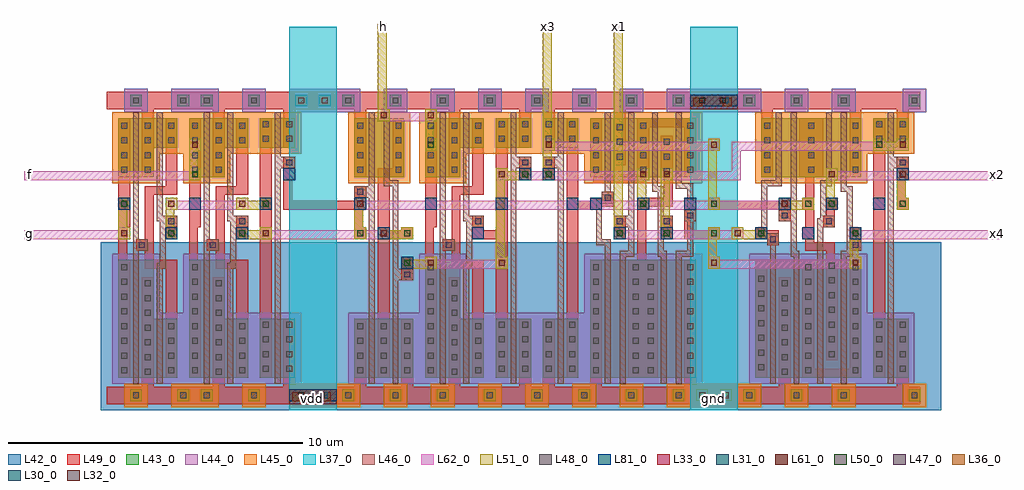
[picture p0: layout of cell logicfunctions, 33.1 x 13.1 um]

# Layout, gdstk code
from math import pi, radians
import gdstk
lib = gdstk.Library(unit=1e-6, precision=1e-09)
def R(c, l, rs):  # rectangles x0, y0, x1, y1
    for r in rs: c.add(gdstk.rectangle(r[:2], r[2:], *l))
def A(c, l, x, y, w, h, nx, ny, dx, dy):  # array of equal rectangles
    R(c, l, [(x+i*dx, y+j*dy, x+i*dx+w, y+j*dy+h) for i in range(nx) for j in range(ny)])
L30_0 = (30, 0)
L31_0 = (31, 0)
L32_0 = (32, 0)
L33_0 = (33, 0)
L36_0 = (36, 0)
L37_0 = (37, 0)
L42_0 = (42, 0)
L43_0 = (43, 0)
L44_0 = (44, 0)
L45_0 = (45, 0)
L46_0 = (46, 0)
L47_0 = (47, 0)
L48_0 = (48, 0)
L49_0 = (49, 0)
L50_0 = (50, 0)
L51_0 = (51, 0)
L61_0 = (61, 0)
L62_0 = (62, 0)
L81_0 = (81, 0)

invx1 = lib.new_cell('INVX1')
R(invx1, L42_0, [(-0.9,4.8,2.6,10.5)])
R(invx1, L43_0, [(-0.2,-0.2,0.2,0.2), (0.2,0.6,1.4,1.6), (0.2,7.4,1.4,9.4), (-0.2,9.8,0.2,10.2)])
R(invx1, L44_0, [(-0.4,-0.4,0.4,0.4), (0,7.2,1.6,9.6)])
R(invx1, L45_0, [(0,0.4,1.6,1.8), (-0.4,9.6,0.4,10.4)])
R(invx1, L46_0, [(0.7,0.4,0.9,1.9), (0.2,1.9,0.9,2.3), (0.7,2.3,0.9,9.6)])
R(invx1, L47_0, [(0.3,2,0.5,2.2)])
A(invx1, L48_0, 0.3, 7.5, 0.2, 0.2, 1, 4, 0, 0.5)
A(invx1, L48_0, 1.1, 7.5, 0.2, 0.2, 1, 4, 0, 0.5)
R(invx1, L48_0, [(-0.1,-0.1,0.1,0.1), (0.3,0.7,0.5,0.9), (1.1,0.7,1.3,0.9), (0.3,1.2,0.5,1.4), (1.1,1.2,1.3,1.4), (-0.1,9.9,0.1,10.1)])
R(invx1, L49_0, [(-0.2,-0.3,1.8,0.3), (0.2,0.3,0.6,1.6), (1,0.6,1.4,9.4), (0.2,1.9,0.6,2.7), (0.2,7.4,0.6,9.7), (-0.2,9.7,1.8,10.3)])
R(invx1, L81_0, [(0.2,2.3,0.6,2.7), (1,3.3,1.4,3.7)])
invx1.add(gdstk.Label('A', (0.4,2.5), layer=109, texttype=0))
invx1.add(gdstk.Label('Y', (1.2,3.5), layer=109, texttype=0))
invx1.add(gdstk.Label('vdd', (0.4,10), layer=109, texttype=0))
invx1.add(gdstk.Label('gnd', (0.4,0), layer=109, texttype=0))

bufx2 = lib.new_cell('BUFX2')
R(bufx2, L42_0, [(-0.5,4.8,2.8,10.5)])
R(bufx2, L43_0, [(-0.2,-0.2,0.2,0.2), (1.4,-0.2,1.8,0.2), (0.2,0.6,2.2,1.6), (1,1.6,2.2,2.6), (1,5.4,2.2,7.4), (0.2,7.4,2.2,9.4), (-0.2,9.8,0.2,10.2), (1.4,9.8,1.8,10.2)])
R(bufx2, L44_0, [(-0.4,-0.4,0.4,0.4), (1.2,-0.4,2,0.4), (0.8,5.2,2.4,7.2), (0,7.2,2.4,9.6)])
R(bufx2, L45_0, [(0,0.4,2.4,1.8), (0.8,1.8,2.4,2.8), (-0.4,9.6,0.4,10.4), (1.2,9.6,2,10.4)])
R(bufx2, L46_0, [(0.7,0.4,0.9,3.9), (1.5,0.4,1.7,4.7), (0.2,3.9,0.9,4.1), (0.2,4.1,0.8,4.3), (0.6,4.3,0.8,5.5), (1.2,4.7,1.7,5.1), (1.5,5.1,1.7,9.6), (0.6,5.5,0.9,5.7), (0.7,5.7,0.9,9.6)])
R(bufx2, L47_0, [(0.3,4,0.5,4.2), (1.3,4.8,1.5,5)])
A(bufx2, L48_0, 0.3, 0.75, 0.2, 0.2, 3, 2, 0.8, 0.5)
A(bufx2, L48_0, 1.9, 5.55, 0.2, 0.2, 1, 8, 0, 0.5)
A(bufx2, L48_0, 1.1, 6.1, 0.2, 0.2, 1, 7, 0, 0.5)
A(bufx2, L48_0, 0.3, 7.55, 0.2, 0.2, 1, 4, 0, 0.5)
R(bufx2, L48_0, [(-0.1,-0.1,0.1,0.1), (1.5,-0.1,1.7,0.1), (1.1,1.75,1.3,1.95), (1.9,1.75,2.1,1.95), (1.1,2.25,1.3,2.45), (1.9,2.25,2.1,2.45), (-0.1,9.9,0.1,10.1), (1.5,9.9,1.7,10.1)])
R(bufx2, L49_0, [(-0.2,-0.3,2.6,0.3), (1,0.3,1.4,2.6), (0.2,0.6,0.6,2.9), (1.8,0.6,2.2,4.3), (0.2,2.9,1.3,3.2), (1,3.2,1.3,4.7), (0.2,3.9,0.6,4.7), (1.9,4.3,2.2,5.4), (1,4.7,1.6,5.1), (1,5.1,1.3,5.4), (0.2,5.4,1.3,5.7), (1.8,5.4,2.2,9.4), (0.2,5.7,0.6,9.4), (1,6,1.4,9.7), (-0.2,9.7,2.6,10.3)])
R(bufx2, L81_0, [(1.8,3.3,2.2,3.7), (0.2,4.3,0.6,4.7)])
bufx2.add(gdstk.Label('vdd', (0.4,10), layer=109, texttype=0))
bufx2.add(gdstk.Label('gnd', (0.4,0), layer=109, texttype=0))
bufx2.add(gdstk.Label('A', (0.4,4.5), layer=109, texttype=0))
bufx2.add(gdstk.Label('Y', (2,3.5), layer=109, texttype=0))

fill = lib.new_cell('FILL')
R(fill, L42_0, [(-0.8,4.8,1.6,10.5)])
R(fill, L43_0, [(-0.2,-0.2,0.2,0.2), (0.6,-0.2,1,0.2), (-0.2,9.8,0.2,10.2), (0.6,9.8,1,10.2)])
R(fill, L44_0, [(-0.4,-0.4,1.2,0.4)])
R(fill, L45_0, [(-0.4,9.6,1.2,10.4)])
R(fill, L48_0, [(-0.1,-0.1,0.1,0.1), (0.7,-0.1,0.9,0.1), (-0.1,9.9,0.1,10.1), (0.7,9.9,0.9,10.1)])
R(fill, L49_0, [(-0.2,-0.3,1,0.3), (-0.2,9.7,1,10.3)])
fill.add(gdstk.Label('vdd', (0.4,10), layer=109, texttype=0))
fill.add(gdstk.Label('gnd', (0.4,0), layer=109, texttype=0))

nand2x1 = lib.new_cell('NAND2X1')
R(nand2x1, L42_0, [(-0.8,4.8,3.2,10.5)])
R(nand2x1, L43_0, [(-0.2,-0.2,0.2,0.2), (1.4,-0.2,1.8,0.2), (0.2,0.6,1.9,2.6), (0.2,7.4,2.2,9.4), (-0.2,9.8,0.2,10.2), (1.4,9.8,1.8,10.2)])
R(nand2x1, L44_0, [(-0.4,-0.4,0.4,0.4), (1.2,-0.4,2,0.4), (0,7.2,2.4,9.6)])
R(nand2x1, L45_0, [(0,0.4,2.1,2.8), (-0.4,9.6,0.4,10.4), (1.2,9.6,2,10.4)])
R(nand2x1, L46_0, [(0.7,0.4,0.9,2.9), (1.2,0.4,1.4,2.7), (1.2,2.7,1.7,2.9), (0.2,2.9,0.9,3.3), (1.5,2.9,1.7,5.7), (0.7,3.3,0.9,9.6), (1.5,5.7,2.2,6.1), (1.5,6.1,1.7,9.6)])
R(nand2x1, L47_0, [(0.3,3,0.5,3.2), (1.9,5.8,2.1,6)])
A(nand2x1, L48_0, 0.3, 0.75, 0.2, 0.2, 1, 4, 0, 0.5)
A(nand2x1, L48_0, 1.6, 0.75, 0.2, 0.2, 1, 4, 0, 0.5)
A(nand2x1, L48_0, 0.3, 7.55, 0.2, 0.2, 3, 4, 0.8, 0.5)
R(nand2x1, L48_0, [(-0.1,-0.1,0.1,0.1), (1.5,-0.1,1.7,0.1), (-0.1,9.9,0.1,10.1), (1.5,9.9,1.7,10.1)])
R(nand2x1, L49_0, [(-0.2,-0.3,2.6,0.3), (0.2,0.3,0.6,2.6), (1.5,0.6,1.9,2.3), (1,2.3,1.9,2.6), (1,2.6,1.4,9.4), (0.2,2.9,0.6,3.7), (1.8,5.3,2.2,6.1), (0.2,7.4,0.6,9.7), (1.8,7.4,2.2,9.7), (-0.2,9.7,2.6,10.3)])
R(nand2x1, L81_0, [(0.2,3.3,0.6,3.7), (1,4.3,1.4,4.7), (1.8,5.3,2.2,5.7)])
nand2x1.add(gdstk.Label('vdd', (0.4,10), layer=109, texttype=0))
nand2x1.add(gdstk.Label('Y', (1.2,4.5), layer=109, texttype=0))
nand2x1.add(gdstk.Label('gnd', (0.4,0), layer=109, texttype=0))
nand2x1.add(gdstk.Label('A', (0.4,3.5), layer=109, texttype=0))
nand2x1.add(gdstk.Label('B', (2,5.5), layer=109, texttype=0))

oai22x1 = lib.new_cell('OAI22X1')
R(oai22x1, L42_0, [(-0.8,4.8,4.6,10.5)])
A(oai22x1, L43_0, -0.2, -0.2, 0.4, 0.4, 3, 2, 1.6, 10)
R(oai22x1, L43_0, [(0.2,0.6,3.8,2.6), (0.2,5.4,3.8,9.4)])
A(oai22x1, L44_0, -0.4, -0.4, 0.8, 0.8, 3, 1, 1.6, 0)
R(oai22x1, L44_0, [(0,5.2,4,9.6)])
A(oai22x1, L45_0, -0.4, 9.6, 0.8, 0.8, 3, 1, 1.6, 0)
R(oai22x1, L45_0, [(0,0.4,4,2.8)])
R(oai22x1, L46_0, [(0.7,0.4,0.9,3.1), (1.5,0.4,1.7,3.9), (2.3,0.4,2.5,2.9), (3.1,0.4,3.3,2.8), (3.1,2.8,3.7,3), (2.3,2.9,2.7,3.1), (3.5,3,3.7,3.7), (0.6,3.1,1,3.3), (2.5,3.1,2.7,3.9), (0.4,3.3,1,3.5), (0.4,3.5,0.6,4.7), (3.4,3.7,3.8,4.1), (1,3.9,1.7,4.3), (2.5,3.9,3,4.3), (3.5,4.1,3.7,5.1), (1.5,4.3,1.7,5.1), (2.5,4.3,2.7,5.1), (0.4,4.7,0.9,4.9), (0.7,4.9,0.9,9.6), (1.2,5.1,1.7,5.3), (2.5,5.1,2.8,5.3), (3.1,5.1,3.7,5.3), (1.2,5.3,1.4,9.6), (2.6,5.3,2.8,9.6), (3.1,5.3,3.3,9.6)])
R(oai22x1, L47_0, [(0.7,3.2,0.9,3.4), (3.5,3.8,3.7,4), (1.1,4,1.3,4.2), (2.7,4,2.9,4.2)])
A(oai22x1, L48_0, -0.1, -0.1, 0.2, 0.2, 3, 2, 1.6, 10)
A(oai22x1, L48_0, 0.3, 0.75, 0.2, 0.2, 3, 4, 1.6, 0.5)
A(oai22x1, L48_0, 1.1, 0.8, 0.2, 0.2, 1, 3, 0, 0.5)
A(oai22x1, L48_0, 2.7, 1.3, 0.2, 0.2, 1, 3, 0, 0.5)
A(oai22x1, L48_0, 0.3, 5.55, 0.2, 0.2, 1, 8, 0, 0.5)
A(oai22x1, L48_0, 1.65, 5.55, 0.2, 0.2, 1, 8, 0, 0.5)
A(oai22x1, L48_0, 2.15, 5.55, 0.2, 0.2, 1, 8, 0, 0.5)
A(oai22x1, L48_0, 3.5, 5.55, 0.2, 0.2, 1, 8, 0, 0.5)
R(oai22x1, L49_0, [(-0.2,-0.3,4.2,0.3), (1,0.3,1.4,2.2), (0.2,0.6,0.6,2.5), (1.8,0.6,3.8,0.9), (1.8,0.9,2.2,2.5), (3.4,0.9,3.8,2.6), (2.6,1.2,3,2.6), (0.2,2.5,2.2,2.6), (0.3,2.6,2.1,2.8), (2.7,2.6,3,3.3), (0.6,3.1,1,3.3), (0.2,3.3,1,3.6), (1.8,3.3,3,3.6), (3.4,3.3,3.8,4.1), (0.2,3.6,0.6,3.7), (1.8,3.6,2.2,3.7), (1.8,3.7,2.1,5.4), (1,3.9,1.4,4.7), (2.6,3.9,3,4.7), (0.2,5.4,0.6,9.7), (1.5,5.4,2.5,9.4), (3.4,5.4,3.8,9.7), (-0.2,9.7,4.2,10.3)])
A(oai22x1, L81_0, 0.2, 3.3, 0.4, 0.4, 3, 1, 1.6, 0)
R(oai22x1, L81_0, [(1,4.3,1.4,4.7), (2.6,4.3,3,4.7)])
oai22x1.add(gdstk.Label('gnd', (0.4,0), layer=109, texttype=0))
oai22x1.add(gdstk.Label('vdd', (0.4,10), layer=109, texttype=0))
oai22x1.add(gdstk.Label('D', (2.8,4.5), layer=109, texttype=0))
oai22x1.add(gdstk.Label('C', (3.6,3.5), layer=109, texttype=0))
oai22x1.add(gdstk.Label('A', (0.4,3.5), layer=109, texttype=0))
oai22x1.add(gdstk.Label('B', (1.2,4.5), layer=109, texttype=0))
oai22x1.add(gdstk.Label('Y', (2,3.5), layer=109, texttype=0))

aoi22x1 = lib.new_cell('AOI22X1')
R(aoi22x1, L42_0, [(-0.8,4.8,4.6,10.5)])
A(aoi22x1, L43_0, -0.2, -0.2, 0.4, 0.4, 3, 2, 1.6, 10)
R(aoi22x1, L43_0, [(0.4,0.6,3.8,2.6), (0.2,5.4,3.8,9.4)])
A(aoi22x1, L44_0, -0.4, -0.4, 0.8, 0.8, 3, 1, 1.6, 0)
R(aoi22x1, L44_0, [(0,5.2,4,9.6)])
A(aoi22x1, L45_0, -0.4, 9.6, 0.8, 0.8, 3, 1, 1.6, 0)
R(aoi22x1, L45_0, [(0.2,0.4,4,2.8)])
R(aoi22x1, L46_0, [(0.9,0.4,1.1,2.7), (1.4,0.4,1.6,3.7), (2.6,0.4,2.8,2.7), (3.1,0.4,3.3,2.9), (0.4,2.7,1.1,2.9), (2.4,2.7,2.8,2.9), (0.4,2.9,0.6,4.5), (2.4,2.9,2.6,3.9), (3.1,2.9,3.5,3.1), (3.3,3.1,3.5,4.7), (1,3.7,1.6,4.1), (2.4,3.9,2.9,4), (2.3,4,2.9,4.3), (1.4,4.1,1.6,5.1), (2.3,4.3,2.5,9.6), (0.4,4.5,1,4.7), (0.6,4.7,1,4.9), (3.3,4.7,3.8,5.1), (0.7,4.9,0.9,9.6), (1.4,5.1,1.7,5.3), (3.1,5.1,3.5,5.3), (1.5,5.3,1.7,9.6), (3.1,5.3,3.3,9.6)])
R(aoi22x1, L47_0, [(1.1,3.8,1.3,4), (2.6,4,2.8,4.2), (0.7,4.6,0.9,4.8), (3.5,4.8,3.7,5)])
A(aoi22x1, L48_0, -0.1, -0.1, 0.2, 0.2, 3, 2, 1.6, 10)
A(aoi22x1, L48_0, 0.5, 0.75, 0.2, 0.2, 3, 4, 1.5, 0.5)
A(aoi22x1, L48_0, 2.7, 5.5, 0.2, 0.2, 1, 7, 0, 0.5)
A(aoi22x1, L48_0, 1.9, 5.55, 0.2, 0.2, 1, 8, 0, 0.5)
A(aoi22x1, L48_0, 3.5, 5.55, 0.2, 0.2, 1, 8, 0, 0.5)
A(aoi22x1, L48_0, 0.3, 5.95, 0.2, 0.2, 1, 7, 0, 0.5)
A(aoi22x1, L48_0, 1.1, 6.1, 0.2, 0.2, 1, 7, 0, 0.5)
R(aoi22x1, L49_0, [(-0.2,-0.3,4.2,0.3), (0.4,0.3,0.8,2.6), (3.4,0.3,3.8,2.6), (1.7,0.6,2.5,2.6), (1.9,2.6,2.2,4.3), (1,3.3,1.4,4.1), (2.6,3.3,3,3.7), (2.6,3.7,2.9,3.9), (2.5,3.9,2.9,4.3), (0.2,4.3,0.6,4.4), (1.8,4.3,2.2,4.7), (3.4,4.3,3.8,5.1), (0.2,4.4,1,4.7), (0.6,4.7,1,4.9), (1.9,4.7,2.2,4.8), (1.9,4.8,2.9,5.1), (2.6,5.1,2.9,5.4), (0.2,5.4,2.2,5.7), (2.6,5.4,3,8.8), (3.4,5.4,3.8,9.1), (0.2,5.7,0.6,9.4), (1.8,5.7,2.2,9.1), (1,6,1.4,9.7), (1.8,9.1,3.8,9.4), (-0.2,9.7,4.2,10.3)])
A(aoi22x1, L81_0, 0.2, 4.3, 0.4, 0.4, 3, 1, 1.6, 0)
R(aoi22x1, L81_0, [(1,3.3,1.4,3.7), (2.6,3.3,3,3.7)])
aoi22x1.add(gdstk.Label('gnd', (0.4,0), layer=109, texttype=0))
aoi22x1.add(gdstk.Label('vdd', (0.4,10), layer=109, texttype=0))
aoi22x1.add(gdstk.Label('C', (3.6,4.5), layer=109, texttype=0))
aoi22x1.add(gdstk.Label('D', (2.8,3.5), layer=109, texttype=0))
aoi22x1.add(gdstk.Label('Y', (2,4.5), layer=109, texttype=0))
aoi22x1.add(gdstk.Label('A', (0.4,4.5), layer=109, texttype=0))
aoi22x1.add(gdstk.Label('B', (1.2,3.5), layer=109, texttype=0))

logicfunctions = lib.new_cell('logicfunctions')
R(logicfunctions, L30_0, [(6.7,0.4,6.9,0.6), (7.5,0.4,7.7,0.6), (20.3,10.4,20.5,10.6), (21.1,10.4,21.3,10.6)])
R(logicfunctions, L31_0, [(6.4,0.3,8,0.7), (20,10.3,21.6,10.7)])
R(logicfunctions, L32_0, [(6.7,0.4,6.9,0.6), (7.4,0.4,7.6,0.6), (20.3,10.4,20.5,10.6), (21,10.4,21.2,10.6)])
R(logicfunctions, L33_0, [(6.4,0.2,8,0.7), (20,10.2,21.6,10.7)])
R(logicfunctions, L36_0, [(6.5,0.3,6.8,0.6), (7.5,0.3,7.8,0.6), (20.1,10.3,20.4,10.6), (21.1,10.3,21.4,10.6)])
R(logicfunctions, L37_0, [(6.4,0,8,13), (20,0,21.6,13)])
A(logicfunctions, L49_0, 19, 5.8, 0.4, 0.4, 3, 1, 3.2, 0)
R(logicfunctions, L49_0, [(6.4,0.3,8,0.7), (10.2,4.8,10.6,5.2), (2.2,5.8,2.6,6.2), (4.6,5.8,5,6.2), (8.6,5.8,9,6.2), (9.4,5.8,10.6,6.1), (12.6,5.8,13.7,6.1), (17.4,5.8,17.8,6.2), (19.8,5.8,21,6.1), (10.2,6.1,10.6,6.2), (19.8,6.1,20.2,6.4), (20.6,6.1,21,6.2), (8.6,6.2,8.9,6.8), (0.6,6.8,1,7.2), (5.4,6.8,5.8,7.2), (6.2,6.8,8.9,7.1), (15.8,6.8,16.9,7.1), (18.2,6.8,18.6,7.2), (20.6,6.8,23.3,7.1), (23.8,6.8,24.2,7.2), (24.6,6.8,25,7.2), (27,6.8,27.4,7.2), (6.2,7.1,6.5,8.1), (20.6,7.1,21,7.2), (27,7.2,27.3,8.1), (3,7.8,3.4,8.2), (14.2,7.8,14.6,8.2), (15,7.8,15.4,8.2), (11,8.8,11.4,9.2), (26.2,8.8,26.6,9.2), (20,10.3,21.6,10.7)])
A(logicfunctions, L50_0, 17.5, 5.9, 0.2, 0.2, 4, 1, 1.6, 0)
R(logicfunctions, L50_0, [(6.7,0.4,6.9,0.6), (7.4,0.4,7.6,0.6), (10.3,4.9,10.5,5.1), (2.3,5.9,2.5,6.1), (4.7,5.9,4.9,6.1), (8.7,5.9,8.9,6.1), (10.3,5.9,10.5,6.1), (25.5,5.9,25.7,6.1), (0.7,6.9,0.9,7.1), (5.5,6.9,5.7,7.1), (18.3,6.9,18.5,7.1), (20.7,6.9,20.9,7.1), (23.9,6.9,24.1,7.1), (24.7,6.9,24.9,7.1), (27.1,6.9,27.3,7.1), (3.1,7.9,3.3,8.1), (14.3,7.9,14.5,8.1), (15.1,7.9,15.3,8.1), (11.1,8.9,11.3,9.1), (26.3,8.9,26.5,9.1), (20.3,10.4,20.5,10.6), (21,10.4,21.2,10.6)])
A(logicfunctions, L51_0, 20.6, 4.8, 0.4, 0.4, 1, 3, 0, 2)
A(logicfunctions, L51_0, 17.4, 5.8, 0.4, 0.4, 3, 1, 1.6, 0)
R(logicfunctions, L51_0, [(6.4,0.3,8,0.7), (10.2,4.8,11.4,5.1), (13.4,4.8,13.8,5.2), (25.4,4.8,25.8,5.2), (10.2,5.1,10.6,5.2), (11,5.1,11.4,5.2), (13.4,5.2,13.7,7.8), (20.6,5.2,20.9,5.8), (25.4,5.2,25.7,5.8), (0.6,5.8,1,6.2), (2.2,5.8,2.6,6.2), (4.6,5.8,5.8,6.1), (8.6,5.8,9,6.2), (9.4,5.8,10.6,6.1), (21.4,5.8,22.6,6.1), (25.4,5.8,25.8,6.2), (4.6,6.1,5,6.2), (5.4,6.1,5.8,6.2), (9.4,6.1,9.8,6.2), (10.2,6.1,10.6,6.2), (21.4,6.1,21.8,6.2), (22.2,6.1,22.6,6.2), (0.6,6.2,0.9,6.8), (2.2,6.2,2.5,6.8), (8.6,6.2,8.9,6.8), (17.4,6.2,17.7,13.1), (19,6.2,19.3,7.8), (0.6,6.8,1,7.2), (2.2,6.8,2.6,7.2), (4.6,6.8,5.8,7.1), (8.6,6.8,9,7.2), (18.2,6.8,18.6,7.2), (23,6.8,24.2,7.1), (24.6,6.8,25,7.2), (27,6.8,27.4,7.2), (4.6,7.1,5,7.2), (5.4,7.1,5.8,7.2), (23,7.1,23.4,7.2), (23.8,7.1,24.2,7.2), (18.2,7.2,18.5,7.8), (20.6,7.2,20.9,8.8), (24.6,7.2,24.9,7.8), (27,7.2,27.3,7.8), (3,7.8,3.4,8.2), (13.4,7.8,14.6,8.1), (15,7.8,15.4,8.2), (18.2,7.8,18.6,8.2), (19,7.8,19.4,8.2), (24.6,7.8,25,8.2), (27,7.8,27.4,8.2), (13.4,8.1,13.8,8.2), (14.2,8.1,14.6,8.2), (3,8.2,3.3,8.8), (15,8.2,15.3,8.8), (3,8.8,3.4,9.2), (11,8.8,11.4,9.2), (15,8.8,15.4,9.2), (26.2,8.8,27.4,9.1), (26.2,9.1,26.6,9.2), (27,9.1,27.4,9.2), (11,9.2,11.3,9.8), (15,9.2,15.3,13.1), (9.4,9.8,9.8,10.2), (11,9.8,11.4,10.2), (9.4,10.2,9.7,13.1), (20,10.3,21.6,10.7)])
A(logicfunctions, L61_0, 17.5, 5.9, 0.2, 0.2, 3, 1, 4, 0)
R(logicfunctions, L61_0, [(6.7,0.4,6.9,0.6), (7.4,0.4,7.6,0.6), (11.1,4.9,11.3,5.1), (13.5,4.9,13.7,5.1), (20.7,4.9,20.9,5.1), (25.5,4.9,25.7,5.1), (0.7,5.9,0.9,6.1), (5.5,5.9,5.7,6.1), (9.5,5.9,9.7,6.1), (2.3,6.9,2.5,7.1), (4.7,6.9,4.9,7.1), (8.7,6.9,8.9,7.1), (23.1,6.9,23.3,7.1), (13.5,7.9,13.7,8.1), (18.3,7.9,18.5,8.1), (19.1,7.9,19.3,8.1), (24.7,7.9,24.9,8.1), (27.1,7.9,27.3,8.1), (3.1,8.9,3.3,9.1), (15.1,8.9,15.3,9.1), (20.7,8.9,20.9,9.1), (27.1,8.9,27.3,9.1), (9.5,9.9,9.7,10.1), (11.1,9.9,11.3,10.1), (20.3,10.4,20.5,10.6), (21,10.4,21.2,10.6)])
A(logicfunctions, L62_0, 17.4, 6.1, 0.4, 0.1, 3, 1, 4, 0)
R(logicfunctions, L62_0, [(6.4,0.3,8,0.7), (11,4.8,13.8,5.1), (20.6,4.8,25.8,5.1), (11,5.1,11.4,5.2), (13.4,5.1,13.8,5.2), (20.6,5.1,21,5.2), (25.4,5.1,25.8,5.2), (-2.6,5.8,1,6.1), (5.4,5.8,9.8,6.1), (17.4,5.8,21.8,6.1), (25.4,5.8,30.5,6.1), (0.6,6.1,1,6.2), (5.4,6.1,5.8,6.2), (9.4,6.1,9.8,6.2), (2.2,6.8,5,7.1), (8.6,6.8,23.4,7.1), (2.2,7.1,2.6,7.2), (4.6,7.1,5,7.2), (8.6,7.1,9,7.2), (23,7.1,23.4,7.2), (-2.6,7.8,3.3,8.1), (13.4,7.8,18.6,8.1), (19,7.8,21.7,8.1), (24.6,7.8,30.5,8.1), (3,8.1,3.3,8.8), (13.4,8.1,13.8,8.2), (18.2,8.1,18.6,8.2), (19,8.1,19.4,8.2), (21.4,8.1,21.7,8.8), (24.6,8.1,25,8.2), (27,8.1,27.4,8.2), (3,8.8,3.4,9.2), (15,8.8,21,9.1), (21.4,8.8,27.4,9.1), (15,9.1,15.4,9.2), (20.6,9.1,21,9.2), (27,9.1,27.4,9.2), (9.4,9.8,11.4,10.1), (9.4,10.1,9.8,10.2), (11,10.1,11.4,10.2), (20,10.3,21.6,10.7)])
logicfunctions.add(gdstk.Reference(invx1, (6.8,10.5), rotation=pi))
logicfunctions.add(gdstk.Reference(bufx2, (5.2,10.5), rotation=pi))
logicfunctions.add(gdstk.Reference(bufx2, (2.8,10.5), rotation=pi))
logicfunctions.add(gdstk.Reference(fill, (7.6,10.5), x_reflection=True))
logicfunctions.add(gdstk.Reference(fill, (6.8,10.5), x_reflection=True))
logicfunctions.add(gdstk.Reference(bufx2, (13.2,10.5), rotation=pi))
logicfunctions.add(gdstk.Reference(nand2x1, (8.4,10.5), x_reflection=True))
logicfunctions.add(gdstk.Reference(invx1, (14.8,10.5), x_reflection=True))
logicfunctions.add(gdstk.Reference(invx1, (14.8,10.5), rotation=pi))
logicfunctions.add(gdstk.Reference(oai22x1, (16.4,10.5), x_reflection=True))
logicfunctions.add(gdstk.Reference(aoi22x1, (22,10.5), x_reflection=True))
logicfunctions.add(gdstk.Reference(fill, (21.2,10.5), x_reflection=True))
logicfunctions.add(gdstk.Reference(fill, (20.4,10.5), x_reflection=True))
logicfunctions.add(gdstk.Reference(invx1, (27.6,10.5), rotation=pi))
logicfunctions.add(gdstk.Label('vdd', (7.2,0.4), layer=37, texttype=0))
logicfunctions.add(gdstk.Label('gnd', (20.8,0.4), layer=37, texttype=0))
logicfunctions.add(gdstk.Label('x1', (17.6,13), layer=51, texttype=0))
logicfunctions.add(gdstk.Label('x2', (30.4,8), layer=62, texttype=0))
logicfunctions.add(gdstk.Label('x3', (15.2,13), layer=51, texttype=0))
logicfunctions.add(gdstk.Label('x4', (30.4,6), layer=62, texttype=0))
logicfunctions.add(gdstk.Label('g', (-2.4,6), layer=62, texttype=0))
logicfunctions.add(gdstk.Label('h', (9.6,13), layer=51, texttype=0))
logicfunctions.add(gdstk.Label('f', (-2.4,8), layer=62, texttype=0))

lib.write_gds('logicfunctions.gds')
